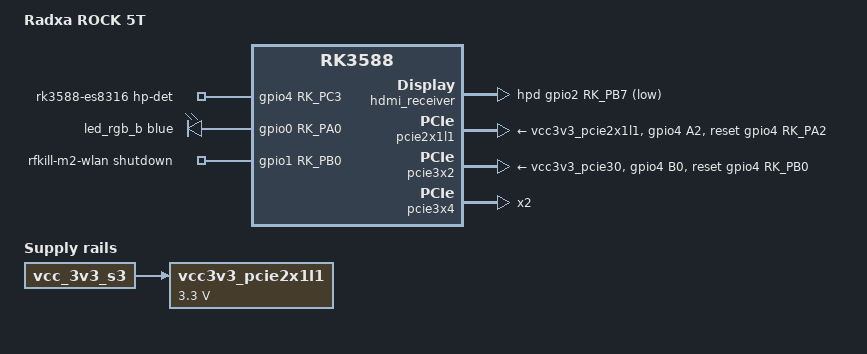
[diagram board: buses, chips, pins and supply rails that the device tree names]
// SPDX-License-Identifier: (GPL-2.0+ OR MIT)

/dts-v1/;

#include "rk3588-rock-5b-5bp-5t.dtsi"

/ {
	model = "Radxa ROCK 5T";
	compatible = "radxa,rock-5t", "rockchip,rk3588";

	analog-sound {
		compatible = "audio-graph-card";
		label = "rk3588-es8316";

		widgets = "Microphone", "Mic Jack",
		"Headphone", "Headphones";

		routing = "MIC2", "Mic Jack",
		"Headphones", "HPOL",
		"Headphones", "HPOR";

		dais = <&i2s0_8ch_p0>;
		hp-det-gpios = <&gpio4 RK_PC3 GPIO_ACTIVE_HIGH>;
		pinctrl-names = "default";
		pinctrl-0 = <&hp_detect>;
	};

	leds {
		compatible = "gpio-leds";
		pinctrl-names = "default";
		pinctrl-0 = <&led_rgb_b>;

		led_rgb_b {
			function = LED_FUNCTION_STATUS;
			color = <LED_COLOR_ID_BLUE>;
			gpios = <&gpio0 RK_PA0 GPIO_ACTIVE_HIGH>;
			linux,default-trigger = "heartbeat";
		};
	};

	rfkill {
		compatible = "rfkill-gpio";
		label = "rfkill-m2-wlan";
		radio-type = "wlan";
		shutdown-gpios = <&gpio1 RK_PB0 GPIO_ACTIVE_HIGH>;
	};

	vcc3v3_pcie2x1l1: regulator-vcc3v3-pcie2x1l2 {
		compatible = "regulator-fixed";
		regulator-name = "vcc3v3_pcie2x1l1";
		regulator-min-microvolt = <3300000>;
		regulator-max-microvolt = <3300000>;
		startup-delay-us = <5000>;
		vin-supply = <&vcc_3v3_s3>;
	};
};

&hdmi_receiver {
	hpd-gpios = <&gpio2 RK_PB7 GPIO_ACTIVE_LOW>;
	status = "okay";
};

&pcie2x1l1 {
	pinctrl-names = "default";
	pinctrl-0 = <&pcie2_1_rst>;
	reset-gpios = <&gpio4 RK_PA2 GPIO_ACTIVE_HIGH>;
	vpcie3v3-supply = <&vcc3v3_pcie2x1l1>;
	status = "okay";
};

&pcie30phy {
	data-lanes = <1 1 2 2>;
};

&pcie3x2 {
	pinctrl-names = "default";
	pinctrl-0 = <&pcie3x2_rst>;
	reset-gpios = <&gpio4 RK_PB0 GPIO_ACTIVE_HIGH>;
	vpcie3v3-supply = <&vcc3v3_pcie30>;
	status = "okay";
};

&pcie3x4 {
	num-lanes = <2>;
};

&pinctrl {
	hdmirx {
		hdmirx_hpd: hdmirx-5v-detection {
			rockchip,pins = <2 RK_PB7 RK_FUNC_GPIO &pcfg_pull_none>;
		};
	};

	leds {
		led_rgb_b: led-rgb-b {
			rockchip,pins = <0 RK_PA0 RK_FUNC_GPIO &pcfg_pull_none>;
		};
	};

	pcie2 {
		pcie2_1_rst: pcie2-1-rst {
			rockchip,pins = <4 RK_PA2 RK_FUNC_GPIO &pcfg_pull_none>;
		};
		pcie2_0_vcc3v3_en: pcie2-0-vcc-en {
			rockchip,pins = <2 RK_PC0 RK_FUNC_GPIO &pcfg_pull_none>;
		};
	};

	pcie3 {
		pcie3x2_rst: pcie3x2-rst {
			rockchip,pins = <4 RK_PB0 RK_FUNC_GPIO &pcfg_pull_none>;
		};
	};

	sound {
		hp_detect: hp-detect {
			rockchip,pins = <4 RK_PC3 RK_FUNC_GPIO &pcfg_pull_none>;
		};
	};

	usb {
		vcc5v0_host_en: vcc5v0-host-en {
			rockchip,pins = <1 RK_PA1 RK_FUNC_GPIO &pcfg_pull_none>;
		};

		usbc_sbu_dc: usbc-sbu-dc {
			rockchip,pins = <0 RK_PC4 RK_FUNC_GPIO &pcfg_pull_none>,
					<0 RK_PC5 RK_FUNC_GPIO &pcfg_pull_none>;
		};
	};
};

&usbdp_phy0 {
	pinctrl-names = "default";
	pinctrl-0 = <&usbc_sbu_dc>;
	sbu1-dc-gpios = <&gpio0 RK_PC4 GPIO_ACTIVE_HIGH>;
	sbu2-dc-gpios = <&gpio0 RK_PC5 GPIO_ACTIVE_HIGH>;
};

&vcc3v3_pcie2x1l0 {
	gpios = <&gpio2 RK_PC0 GPIO_ACTIVE_HIGH>;
	pinctrl-names = "default";
	pinctrl-0 = <&pcie2_0_vcc3v3_en>;
	status = "okay";
};

&vcc5v0_host {
	enable-active-high;
	gpio = <&gpio1 RK_PA1 GPIO_ACTIVE_HIGH>;
	pinctrl-names = "default";
	pinctrl-0 = <&vcc5v0_host_en>;
};
